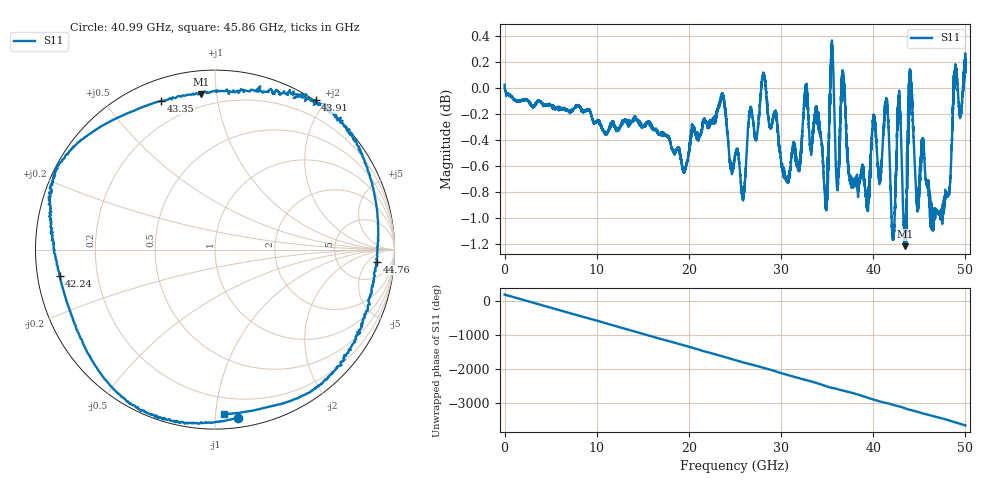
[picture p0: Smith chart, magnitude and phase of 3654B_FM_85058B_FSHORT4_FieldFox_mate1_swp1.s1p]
!Created with skrf (http://scikit-rf.org).
# Hz S RI R 50.0
!freq ReS11 ImS11
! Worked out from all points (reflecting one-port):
!   10000 points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, 5.3 MHz to 50 GHz, reference 50 ohm
!   lowest |S11| = -1.2 dB at 43.48 GHz (marker M1), VSWR 14.29, Z = 6.4 + j45.3 ohm
!   phase of S11 starts at 180 deg and turns -3824 deg over the sweep
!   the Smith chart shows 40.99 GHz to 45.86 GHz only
!   S11 on the Smith chart (normalised r, x): 40.99 GHz: 0.06, -1.14; 42.24 GHz: 0.07, -0.08; 43.35 GHz: 0.09, +0.70; 43.91 GHz: -0.01, +1.88; 44.76 GHz: 13, -10; 45.86 GHz: 0.09, -1.05
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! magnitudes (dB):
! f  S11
! 5.3 MHz  0.0
! 6.255 GHz  -0.2
! 12.51 GHz  -0.3
! 18.76 GHz  -0.5
! 23.61 GHz  0.0
! 25.01 GHz  -0.5
! 25.9 GHz  -0.9
! 28.1 GHz  0.1
! 31.26 GHz  -0.5
! 32.71 GHz  0.0
! 34.87 GHz  -0.9
! 35.53 GHz  0.3
! 36.08 GHz  -0.8
! 36.74 GHz  0.1
! 37.51 GHz  -0.7
! 40.99 GHz  -0.5
! 41.48 GHz  -0.1
! 42.24 GHz  -1.1
! 42.81 GHz  -0.1
! 43.35 GHz  -1.1
! 43.48 GHz  -1.2
! 43.76 GHz  -0.4
! 43.91 GHz  0.0
! 44.76 GHz  -0.9
! 45.86 GHz  -0.7
! 47.49 GHz  -1.0
! 48.88 GHz  0.1
! 50 GHz  0.2
